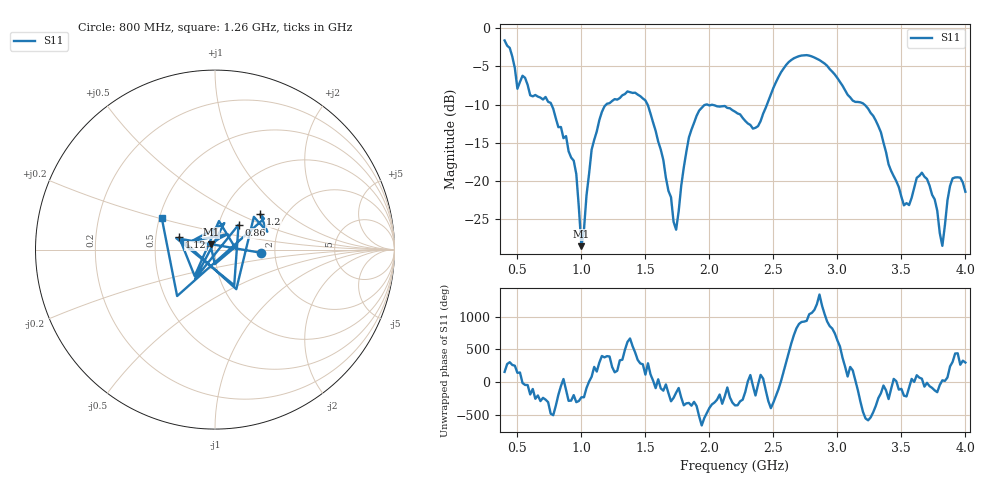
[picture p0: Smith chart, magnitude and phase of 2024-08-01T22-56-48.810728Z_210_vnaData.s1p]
!Created with skrf (http://scikit-rf.org).
# Hz S RI R 50.0
!freq ReS11 ImS11
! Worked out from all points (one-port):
!   181 points, 400 MHz to 4 GHz, reference 50 ohm
!   lowest |S11| = -28.5 dB at 1 GHz (marker M1), VSWR 1.08, Z = 47.8 + j2.92 ohm
!   |S11| at or under -10 dB: 1.517 GHz to 1.974 GHz (456.8 MHz wide, 26.2 % of centre); 1.984 GHz to 2.45 GHz (465.4 MHz wide, 21 % of centre); 3.211 GHz to end of sweep (the widest 3 of 4)
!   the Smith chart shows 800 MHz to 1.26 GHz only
!   S11 on the Smith chart (normalised r, x): 800 MHz: 1.69, -0.06; 860 MHz: 1.25, +0.36; 1.12 GHz: 0.66, +0.09; 1.2 GHz: 1.50, +0.66; 1.26 GHz: 0.52, +0.20
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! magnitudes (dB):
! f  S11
! 400 MHz  -1.6
! 500 MHz  -7.9
! 540 MHz  -6.2
! 800 MHz  -11.8
! 860 MHz  -14.4
! 960 MHz  -19.1
! 1 GHz  -28.5
! 1.08 GHz  -15.9
! 1.12 GHz  -13.5
! 1.2 GHz  -9.9
! 1.26 GHz  -9.3
! 1.3 GHz  -9.1
! 1.52 GHz  -10.1
! 1.72 GHz  -25.3
! 1.76 GHz  -24.0
! 1.84 GHz  -14.3
! 1.92 GHz  -10.8
! 2.2 GHz  -10.9
! 2.38 GHz  -12.8
! 2.66 GHz  -3.9
! 3.1 GHz  -9.1
! 3.28 GHz  -11.5
! 3.56 GHz  -23.1
! 3.62 GHz  -19.6
! 3.7 GHz  -19.7
! 3.82 GHz  -28.5
! 3.9 GHz  -19.7
! 4 GHz  -21.4
